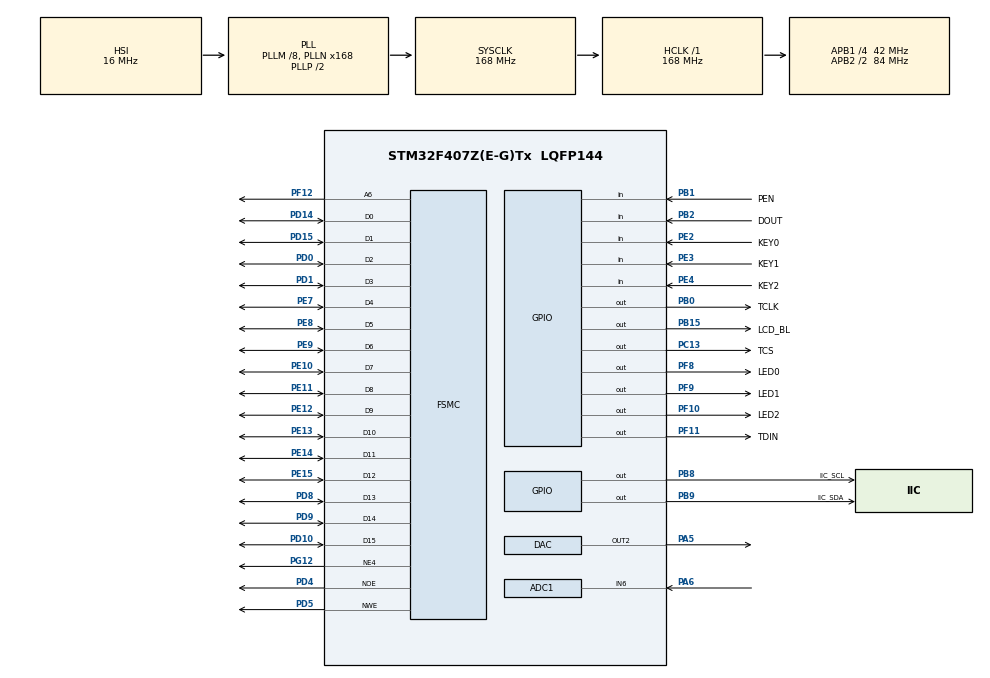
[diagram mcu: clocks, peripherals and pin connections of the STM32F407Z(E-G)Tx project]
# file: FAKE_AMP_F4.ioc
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ADC1.Channel-6\#ChannelRegularConversion=ADC_CHANNEL_6
ADC1.ContinuousConvMode=ENABLE
ADC1.DMAContinuousRequests=ENABLE
ADC1.NbrOfConversion=1
ADC1.NbrOfConversionFlag=1
ADC1.Rank-6\#ChannelRegularConversion=1
ADC1.SamplingTime-6\#ChannelRegularConversion=ADC_SAMPLETIME_3CYCLES
ADC1.ScanConvMode=DISABLE
ADC1.master=1
Dma.ADC1.0.Direction=DMA_PERIPH_TO_MEMORY
Dma.ADC1.0.FIFOMode=DMA_FIFOMODE_DISABLE
Dma.ADC1.0.Instance=DMA2_Stream0
Dma.ADC1.0.MemDataAlignment=DMA_MDATAALIGN_HALFWORD
Dma.ADC1.0.MemInc=DMA_MINC_ENABLE
Dma.ADC1.0.Mode=DMA_CIRCULAR
Dma.ADC1.0.PeriphDataAlignment=DMA_PDATAALIGN_HALFWORD
Dma.ADC1.0.PeriphInc=DMA_PINC_DISABLE
Dma.ADC1.0.Priority=DMA_PRIORITY_VERY_HIGH
Dma.Request0=ADC1
FSMC.AddressSetupTime1=0x0f
FSMC.BusTurnAroundDuration1=0
FSMC.DataSetupTime1=60
FSMC.ExtendedAddressSetupTime1=9
FSMC.ExtendedBusTurnAroundDuration1=0
FSMC.ExtendedDataSetupTime1=8
FSMC.ExtendedMode1=FSMC_EXTENDED_MODE_ENABLE
Mcu.Family=STM32F4
Mcu.Name=STM32F407Z(E-G)Tx
Mcu.Package=LQFP144
NVIC.PriorityGroup=NVIC_PRIORITYGROUP_2
NVIC.TIM3_IRQn=true\:3\:0\:true\:false\:true\:true\:true
PA13.Mode=Serial_Wire
PA13.Signal=SYS_JTMS-SWDIO
PA14.Mode=Serial_Wire
PA14.Signal=SYS_JTCK-SWCLK
PA5.Signal=COMP_DAC2_group
PA6.Signal=ADCx_IN6
PB0.GPIO_Label=TCLK
PB0.GPIO_PuPd=GPIO_PULLUP
PB0.GPIO_Speed=GPIO_SPEED_FREQ_VERY_HIGH
PB0.Signal=GPIO_Output
PB1.GPIO_Label=PEN
PB1.GPIO_PuPd=GPIO_PULLUP
PB1.Signal=GPIO_Input
PB15.GPIO_Label=LCD_BL
PB15.GPIO_PuPd=GPIO_PULLUP
PB15.GPIO_Speed=GPIO_SPEED_FREQ_MEDIUM
PB15.Signal=GPIO_Output
PB2.GPIO_Label=DOUT
PB2.GPIO_PuPd=GPIO_PULLUP
PB2.Signal=GPIO_Input
PB8.GPIO_Label=IIC_SCL
PB8.GPIO_PuPd=GPIO_PULLUP
PB8.GPIO_Speed=GPIO_SPEED_FREQ_VERY_HIGH
PB8.Signal=GPIO_Output
PB9.GPIO_Label=IIC_SDA
PB9.GPIO_PuPd=GPIO_PULLUP
PB9.GPIO_Speed=GPIO_SPEED_FREQ_VERY_HIGH
PB9.Signal=GPIO_Output
PC13-ANTI_TAMP.GPIO_Label=TCS
PC13-ANTI_TAMP.GPIO_PuPd=GPIO_NOPULL
PC13-ANTI_TAMP.Signal=GPIO_Output
PD0.GPIO_PuPd=GPIO_PULLUP
PD0.GPIO_Speed_High_Default=GPIO_SPEED_FREQ_VERY_HIGH
PD0.Signal=FSMC_D2_DA2
PD1.GPIO_PuPd=GPIO_PULLUP
PD1.Signal=FSMC_D3_DA3
PD10.GPIO_PuPd=GPIO_PULLUP
PD10.Signal=FSMC_D15_DA15
PD14.GPIO_PuPd=GPIO_PULLUP
PD14.Signal=FSMC_D0_DA0
PD15.GPIO_PuPd=GPIO_PULLUP
PD15.Signal=FSMC_D1_DA1
PD4.GPIO_PuPd=GPIO_PULLUP
PD4.Signal=FSMC_NOE
PD5.GPIO_PuPd=GPIO_PULLUP
PD5.Signal=FSMC_NWE
PD8.GPIO_PuPd=GPIO_PULLUP
PD8.Signal=FSMC_D13_DA13
PD9.GPIO_PuPd=GPIO_PULLUP
PD9.Signal=FSMC_D14_DA14
PE10.GPIO_PuPd=GPIO_PULLUP
PE10.Signal=FSMC_D7_DA7
PE11.GPIO_PuPd=GPIO_PULLUP
PE11.Signal=FSMC_D8_DA8
PE12.GPIO_PuPd=GPIO_PULLUP
PE12.Signal=FSMC_D9_DA9
PE13.GPIO_PuPd=GPIO_PULLUP
PE13.Signal=FSMC_D10_DA10
PE14.GPIO_PuPd=GPIO_PULLUP
PE14.Signal=FSMC_D11_DA11
PE15.GPIO_PuPd=GPIO_PULLUP
PE15.Signal=FSMC_D12_DA12
PE2.GPIO_Label=KEY0
PE2.GPIO_PuPd=GPIO_PULLUP
PE2.Signal=GPIO_Input
PE3.GPIO_Label=KEY1
PE3.GPIO_PuPd=GPIO_PULLUP
PE3.Signal=GPIO_Input
PE4.GPIO_Label=KEY2
PE4.GPIO_PuPd=GPIO_PULLUP
PE4.Signal=GPIO_Input
PE7.GPIO_PuPd=GPIO_PULLUP
PE7.Signal=FSMC_D4_DA4
PE8.GPIO_PuPd=GPIO_PULLUP
PE8.Signal=FSMC_D5_DA5
PE9.GPIO_PuPd=GPIO_PULLUP
PE9.Signal=FSMC_D6_DA6
PF10.GPIO_Label=LED2
PF10.GPIO_PuPd=GPIO_PULLUP
PF10.GPIO_Speed=GPIO_SPEED_FREQ_VERY_HIGH
PF10.PinState=GPIO_PIN_SET
PF10.Signal=GPIO_Output
PF11.GPIO_Label=TDIN
PF11.GPIO_Speed=GPIO_SPEED_FREQ_VERY_HIGH
PF11.Signal=GPIO_Output
PF12.GPIO_PuPd=GPIO_PULLUP
PF12.Signal=FSMC_A6
PF8.GPIO_Label=LED0
PF8.GPIO_PuPd=GPIO_PULLUP
PF8.GPIO_Speed=GPIO_SPEED_FREQ_VERY_HIGH
PF8.PinState=GPIO_PIN_SET
PF8.Signal=GPIO_Output
PF9.GPIO_Label=LED1
PF9.GPIO_PuPd=GPIO_PULLUP
PF9.GPIO_Speed=GPIO_SPEED_FREQ_VERY_HIGH
PF9.PinState=GPIO_PIN_SET
PF9.Signal=GPIO_Output
PG12.GPIO_PuPd=GPIO_PULLUP
PG12.Mode=NorPsramChipSelect4_1
PG12.Signal=FSMC_NE4
PH0-OSC_IN.Mode=HSE-External-Oscillator
PH0-OSC_IN.Signal=RCC_OSC_IN
PH1-OSC_OUT.Mode=HSE-External-Oscillator
PH1-OSC_OUT.Signal=RCC_OSC_OUT
ProjectManager.HeapSize=0x200
ProjectManager.StackSize=0x400
ProjectManager.TargetToolchain=MDK-ARM V5.27
RCC.48MHZClocksFreq_Value=84000000
RCC.AHBFreq_Value=168000000
RCC.APB1CLKDivider=RCC_HCLK_DIV4
RCC.APB1Freq_Value=42000000
RCC.APB1TimFreq_Value=84000000
RCC.APB2CLKDivider=RCC_HCLK_DIV2
RCC.APB2Freq_Value=84000000
RCC.APB2TimFreq_Value=168000000
RCC.CortexFreq_Value=168000000
RCC.HCLKFreq_Value=168000000
RCC.HSE_VALUE=25000000
RCC.HSI_VALUE=16000000
RCC.LSE_VALUE=32768
RCC.PLLM=8
RCC.PLLN=168
RCC.SYSCLKFreq_VALUE=168000000
RCC.SYSCLKSource=RCC_SYSCLKSOURCE_PLLCLK
RCC.VCOOutputFreq_Value=336000000
SH.ADCx_IN6.0=ADC1_IN6,IN6
SH.COMP_DAC2_group.0=DAC_OUT2,DAC_OUT2
SH.FSMC_A6.0=FSMC_A6,A6_1
SH.FSMC_D0_DA0.0=FSMC_D0,16b-d1
SH.FSMC_D10_DA10.0=FSMC_D10,16b-d1
SH.FSMC_D11_DA11.0=FSMC_D11,16b-d1
SH.FSMC_D12_DA12.0=FSMC_D12,16b-d1
SH.FSMC_D13_DA13.0=FSMC_D13,16b-d1
SH.FSMC_D14_DA14.0=FSMC_D14,16b-d1
SH.FSMC_D15_DA15.0=FSMC_D15,16b-d1
SH.FSMC_D1_DA1.0=FSMC_D1,16b-d1
SH.FSMC_D2_DA2.0=FSMC_D2,16b-d1
SH.FSMC_D3_DA3.0=FSMC_D3,16b-d1
SH.FSMC_D4_DA4.0=FSMC_D4,16b-d1
SH.FSMC_D5_DA5.0=FSMC_D5,16b-d1
SH.FSMC_D6_DA6.0=FSMC_D6,16b-d1
SH.FSMC_D7_DA7.0=FSMC_D7,16b-d1
SH.FSMC_D8_DA8.0=FSMC_D8,16b-d1
SH.FSMC_D9_DA9.0=FSMC_D9,16b-d1
SH.FSMC_NOE.0=FSMC_NOE,Lcd1
SH.FSMC_NWE.0=FSMC_NWE,Lcd1
TIM3.Period=100-1
TIM3.Prescaler=840-1
TIM6.Period=8-1
TIM6.Prescaler=21-1
VP_TIM3_VS_ClockSourceINT.Mode=Internal
VP_TIM6_VS_ClockSourceINT.Mode=Enable_Timer
board=custom

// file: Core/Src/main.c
/* USER CODE BEGIN Header */
/**
  ******************************************************************************
  * @file           : main.c
  * @brief          : Main program body
  ******************************************************************************
  * @attention
  *
  * <h2><center>&copy; Copyright (c) 2021 STMicroelectronics.
  * All rights reserved.</center></h2>
  *
  * This software component is licensed by ST under BSD 3-Clause license,
  * the "License"; You may not use this file except in compliance with the
  * License. You may obtain a copy of the License at:
  *                        opensource.org/licenses/BSD-3-Clause
  *
  ******************************************************************************
  */
/* USER CODE END Header */
#include "main.h"
#include "adc.h"
#include "dac.h"
#include "dma.h"
#include "tim.h"
#include "gpio.h"
#include "fsmc.h"

/* USER CODE BEGIN Includes */
#include "lcd.h"
#include "touch.h"
/* USER CODE END Includes */

void SystemClock_Config(void);
/* USER CODE BEGIN PFP */
u8 TP_CHECK(u16 x0, u16 y0, u16 x1, u16 y1);
/* USER CODE END PFP */

/* USER CODE BEGIN 0 */
uint8_t AMP_MUL = 100;
int32_t ADC_CAP = 0;
uint16_t pressTime = 0;
uint8_t presStatus = 0; //标记按键是否按下，防止连
uint16_t offset = 1900;
// uint8_t PRE_AMP_MUL;
/* USER CODE END 0 */

int main(void)
{

  /* MCU Configuration--------------------------------------------------------*/

  /* Reset of all peripherals, Initializes the Flash interface and the Systick. */
  HAL_Init();

  /* Configure the system clock */
  SystemClock_Config();

  /* Initialize all configured peripherals */
  MX_GPIO_Init();
  MX_DMA_Init();
  MX_DAC_Init();
  MX_FSMC_Init();
  MX_TIM3_Init();
  MX_ADC1_Init();
  MX_TIM6_Init();
  /* USER CODE BEGIN 2 */
  HAL_TIM_Base_Start_IT(&htim3);
  HAL_ADC_Start_DMA(&hadc1,(uint32_t *)&ADC_CAP,1);
  HAL_DAC_Start(&hdac,DAC1_CHANNEL_2);
  delay_init(168);
  LCD_Init();
	tp_dev.init();

  POINT_COLOR = RED;
  //     (28,40)                     (68,40)                                      (192,40)    (202,44)
  //       (32,48) - (44,49)                    DAC_FRE    ()                          (196,48)    +     (208,49)
  //                   (48,56)                                 (172,56)                     (203,52)   (212,56)

  LCD_ShowString(72, 40, 96, 16, 16, (uint8_t *)"AMP_MUL:X   ");
  LCD_Fill(28,40,48,56,GRAY);
  LCD_Fill(32,48,44,49,GREEN);
  LCD_Fill(192,40,212,56,GRAY);
  LCD_Fill(196,48,208,49,RED);
  LCD_Fill(202,44,203,52,RED);
  LCD_ShowString(72, 70, 96, 16, 16, (uint8_t *)"AMP_OFS:    ");
  LCD_Fill(28,70,48,86,GRAY);
  LCD_Fill(32,78,44,79,GREEN);
  LCD_Fill(192,70,212,86,GRAY);
  LCD_Fill(196,78,208,79,RED);
  LCD_Fill(202,74,203,82,RED);
  // LCD_ShowxNum(148,140,123,3,16,0);
  LCD_ShowxNum(148,40,AMP_MUL,3,16,0);
  LCD_ShowxNum(140,70,offset,4,16,0);

  /* USER CODE END 2 */

  /* Infinite loop */
  while (1)
  {

    /* USER CODE BEGIN 3 */

    //ćéŽćŤćé¨ĺ
    tp_dev.scan(0);
		//DAC->DHR12R1 = ((int32_t) ADC_CAP - 2028)* AMP_MUL / 10 + 2028;
		DAC->DHR12R2 = ((ADC_CAP - 1810)* AMP_MUL / 10) + 2048;
		//DAC->DHR12R2 = ((ADC_CAP - 1808)* AMP_MUL / 10) + 2048;
		//DAC->DHR12R2 = ((ADC_CAP - 1920)* AMP_MUL / 10) + 2048;
		// DAC->DHR12R2 = ADC_CAP;

    if (tp_dev.sta & TP_PRES_DOWN)
    {
      if (pressTime == 0 || ((pressTime > 1000) && (pressTime%50 == 0)))
      {
				pressTime++;
        presStatus = 1;

        if(TP_CHECK(28,40,48,56)) {
          AMP_MUL = AMP_MUL==1?1:AMP_MUL-1;
          LCD_ShowxNum(148,40,AMP_MUL,3,16,0);
        }
        if(TP_CHECK(192,40,212,56)) {
          AMP_MUL = AMP_MUL==300?300:AMP_MUL+1;
          LCD_ShowxNum(148,40,AMP_MUL,3,16,0);
        }
        if(TP_CHECK(28,70,48,86)) {
          LCD_ShowxNum(140,70,--offset,4,16,0);
        }
        if(TP_CHECK(192,70,212,86)) {
          LCD_ShowxNum(140,70,++offset,4,16,0);
        }
      }
    }
    else {
      presStatus = 0;
      pressTime = 0;
    }

    //日常刷新
  }
  /* USER CODE END 3 */
}

void SystemClock_Config(void)
{
  RCC_OscInitTypeDef RCC_OscInitStruct = {0};
  RCC_ClkInitTypeDef RCC_ClkInitStruct = {0};

  /** Configure the main internal regulator output voltage
  */
  __HAL_RCC_PWR_CLK_ENABLE();
  __HAL_PWR_VOLTAGESCALING_CONFIG(PWR_REGULATOR_VOLTAGE_SCALE1);
  /** Initializes the RCC Oscillators according to the specified parameters
  * in the RCC_OscInitTypeDef structure.
  */
  RCC_OscInitStruct.OscillatorType = RCC_OSCILLATORTYPE_HSI;
  RCC_OscInitStruct.HSIState = RCC_HSI_ON;
  RCC_OscInitStruct.HSICalibrationValue = RCC_HSICALIBRATION_DEFAULT;
  RCC_OscInitStruct.PLL.PLLState = RCC_PLL_ON;
  RCC_OscInitStruct.PLL.PLLSource = RCC_PLLSOURCE_HSI;
  RCC_OscInitStruct.PLL.PLLM = 8;
  RCC_OscInitStruct.PLL.PLLN = 168;
  RCC_OscInitStruct.PLL.PLLP = RCC_PLLP_DIV2;
  RCC_OscInitStruct.PLL.PLLQ = 4;
  if (HAL_RCC_OscConfig(&RCC_OscInitStruct) != HAL_OK)
  {
    Error_Handler();
  }
  /** Initializes the CPU, AHB and APB buses clocks
  */
  RCC_ClkInitStruct.ClockType = RCC_CLOCKTYPE_HCLK|RCC_CLOCKTYPE_SYSCLK
                              |RCC_CLOCKTYPE_PCLK1|RCC_CLOCKTYPE_PCLK2;
  RCC_ClkInitStruct.SYSCLKSource = RCC_SYSCLKSOURCE_PLLCLK;
  RCC_ClkInitStruct.AHBCLKDivider = RCC_SYSCLK_DIV1;
  RCC_ClkInitStruct.APB1CLKDivider = RCC_HCLK_DIV4;
  RCC_ClkInitStruct.APB2CLKDivider = RCC_HCLK_DIV2;

  if (HAL_RCC_ClockConfig(&RCC_ClkInitStruct, FLASH_LATENCY_5) != HAL_OK)
  {
    Error_Handler();
  }
}

/* USER CODE BEGIN 4 */
u8 TP_CHECK(u16 x0, u16 y0, u16 x1, u16 y1)
{
	return (tp_dev.x[0] > x0 && tp_dev.y[0] > y0 && tp_dev.x[0] < x1 && tp_dev.y[0] < y1);
}
/* USER CODE END 4 */

void Error_Handler(void)
{
  __disable_irq();
  while (1)
  {
  }
}

/************************ (C) COPYRIGHT STMicroelectronics *****END OF FILE****/
